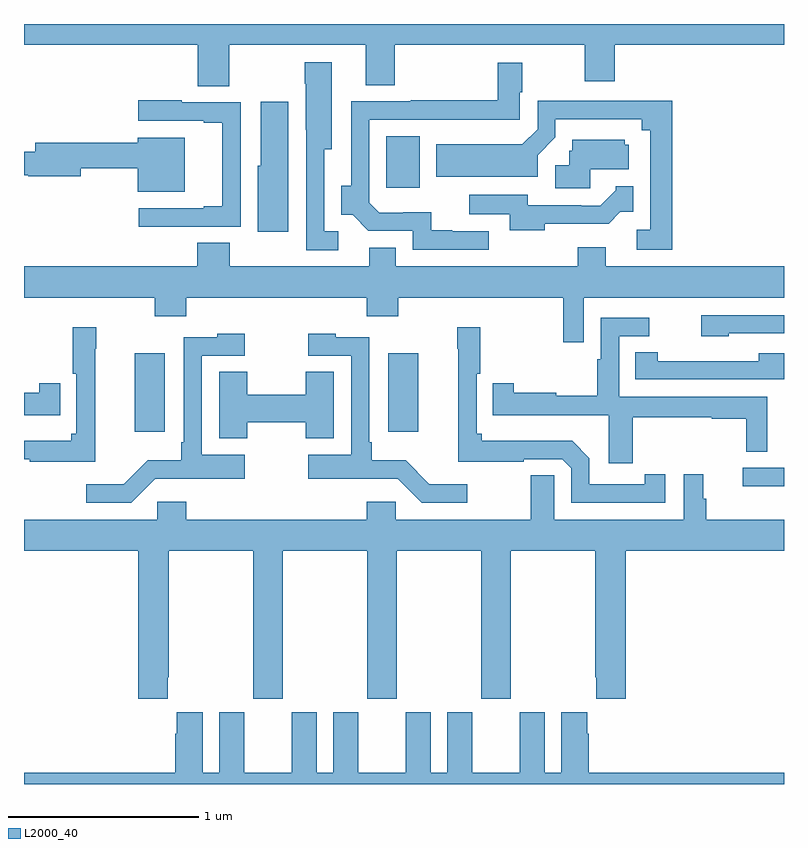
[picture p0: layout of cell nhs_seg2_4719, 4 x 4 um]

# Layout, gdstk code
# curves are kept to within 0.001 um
import gdstk
lib = gdstk.Library(unit=1e-6, precision=1e-09)
def R(c, l, rs):  # rectangles x0, y0, x1, y1
    for r in rs: c.add(gdstk.rectangle(r[:2], r[2:], *l))
def P(c, l, *ps):  # polygons
    for p in ps: c.add(gdstk.Polygon(p, *l))
L2000_40 = (2000, 40)

nhs_seg2_4719 = lib.new_cell('nhs_seg2_4719')
R(nhs_seg2_4719, L2000_40, [(372.783,589.367,373,589.464), (369.584,589.653,369.742,590.068), (370.916,589.653,371.074,590.068), (370.907,590.937,371.083,591.208)])
P(nhs_seg2_4719, L2000_40, [(370.08,591.692),(370.799,591.692),(370.799,591.478),(370.952,591.478),(370.952,591.692),(371.95,591.692),(371.95,591.498),(372.11,591.498),(372.11,591.692),(373,591.692),(373,591.8),(369,591.8),(369,591.692),(369.914,591.692),(369.914,591.472),(370.08,591.472)],
  [(370.654,590.709),(370.581,590.709),(370.581,591.14),(370.621,591.14),(370.621,591.598),(370.477,591.598),(370.477,591.485),(370.484,591.485),(370.484,591.244),(370.485,591.244),(370.485,590.609),(370.654,590.609)],
  [(371.446,590.709),(371.255,590.709),(371.255,590.714),(371.144,590.714),(371.144,590.808),(370.871,590.807),(370.818,590.859),(370.818,591.297),(371.61,591.296),(371.61,591.441),(371.623,591.441),(371.623,591.595),(371.494,591.595),(371.494,591.398),(371.035,591.398),(371.035,591.393),(370.722,591.393),(370.722,590.948),(370.67,590.948),(370.67,590.795),(370.729,590.795),(370.812,590.712),(371.046,590.712),(371.046,590.613),(371.446,590.613)],
  [(369.827,590.733),(370.14,590.733),(370.14,591.387),(369.83,591.387),(369.83,591.4),(369.6,591.4),(369.6,591.291),(369.947,591.291),(369.947,591.279),(370.043,591.279),(370.043,590.842),(369.947,590.842),(369.947,590.829),(369.603,590.829),(369.603,590.732),(369.827,590.732)],
  [(372.413,591.396),(371.703,591.396),(371.703,591.246),(371.623,591.166),(371.171,591.166),(371.171,590.996),(371.703,590.996),(371.703,591.11),(371.796,591.203),(371.796,591.3),(372.25,591.3),(372.25,591.242),(372.297,591.242),(372.297,590.718),(372.225,590.718),(372.225,590.613),(372.413,590.613)],
  [(370.39,591.391),(370.247,591.391),(370.247,591.054),(370.229,591.054),(370.229,590.706),(370.39,590.706)],
  [(369.847,591.202),(369.599,591.202),(369.599,591.176),(369.059,591.176),(369.059,591.127),(369,591.127),(369,591.005),(369.022,591.005),(369.022,590.998),(369.298,590.998),(369.298,591.04),(369.599,591.04),(369.599,590.918),(369.847,590.918)],
  [(371.98,591.035),(372.184,591.035),(372.184,591.165),(372.162,591.165),(372.162,591.19),(371.885,591.19),(371.885,591.132),(371.869,591.132),(371.869,591.057),(371.796,591.057),(371.796,590.936),(371.98,590.936)],
  [(371.74,590.75),(372.077,590.75),(372.138,590.811),(372.207,590.811),(372.207,590.947),(372.114,590.947),(372.114,590.925),(372.033,590.844),(371.933,590.844),(371.933,590.847),(371.652,590.847),(371.652,590.902),(371.343,590.902),(371.343,590.798),(371.556,590.798),(371.556,590.714),(371.74,590.714)],
  [(371.946,590.36),(373,590.36),(373,590.524),(372.061,590.524),(372.061,590.626),(371.914,590.626),(371.914,590.524),(370.957,590.524),(370.957,590.623),(370.817,590.623),(370.817,590.524),(370.083,590.524),(370.083,590.648),(369.911,590.648),(369.911,590.524),(369,590.524),(369,590.36),(369.689,590.36),(369.689,590.261),(369.854,590.261),(369.854,590.36),(370.805,590.36),(370.805,590.261),(370.97,590.261),(370.97,590.36),(371.838,590.36),(371.838,590.124),(371.946,590.124)],
  [(372.708,590.172),(373,590.172),(373,590.268),(372.564,590.268),(372.564,590.156),(372.708,590.156)],
  [(372.205,589.731),(372.619,589.731),(372.619,589.723),(372.8,589.723),(372.8,589.549),(372.912,589.549),(372.912,589.839),(372.132,589.839),(372.132,590.157),(372.292,590.157),(372.292,590.253),(372.036,590.253),(372.036,590.036),(372.016,590.036),(372.016,589.844),(371.802,589.844),(371.802,589.859),(371.578,589.859),(371.578,589.909),(371.467,589.909),(371.467,589.742),(372.077,589.742),(372.077,589.488),(372.205,589.488)],
  [(372.376,589.429),(372.266,589.429),(372.266,589.377),(371.976,589.377),(371.976,589.515),(371.885,589.606),(371.41,589.606),(371.41,589.644),(371.382,589.644),(371.382,589.958),(371.402,589.958),(371.402,590.203),(371.279,590.203),(371.279,590.09),(371.285,590.09),(371.285,589.497),(371.629,589.497),(371.629,589.509),(371.832,589.509),(371.88,589.461),(371.88,589.281),(372.376,589.281)],
  [(369.374,590.09),(369.38,590.09),(369.38,590.203),(369.256,590.203),(369.256,589.958),(369.276,589.958),(369.276,589.644),(369.248,589.644),(369.248,589.606),(369,589.606),(369,589.509),(369.029,589.509),(369.029,589.497),(369.374,589.497)],
  [(369.691,589.407),(370.162,589.406),(370.162,589.534),(369.936,589.534),(369.936,590.055),(370.162,590.055),(370.162,590.17),(370.017,590.17),(370.017,590.151),(369.84,590.151),(369.84,589.6),(369.828,589.6),(369.828,589.504),(369.65,589.504),(369.524,589.378),(369.327,589.378),(369.327,589.281),(369.565,589.281)],
  [(371.332,589.378),(371.134,589.378),(371.008,589.504),(370.831,589.504),(370.831,589.6),(370.818,589.6),(370.818,590.151),(370.641,590.151),(370.641,590.17),(370.497,590.17),(370.497,590.055),(370.722,590.055),(370.722,589.534),(370.497,589.534),(370.497,589.406),(370.967,589.407),(371.093,589.281),(371.332,589.281)],
  [(373,590.068),(372.866,590.068),(372.866,590.026),(372.336,590.026),(372.336,590.072),(372.217,590.072),(372.217,589.929),(373,589.929)],
  [(370.176,589.703),(370.483,589.703),(370.483,589.619),(370.63,589.619),(370.63,589.97),(370.483,589.97),(370.483,589.85),(370.176,589.85),(370.176,589.97),(370.028,589.97),(370.028,589.619),(370.176,589.619)],
  [(369.191,589.909),(369.08,589.909),(369.08,589.859),(369,589.859),(369,589.742),(369.191,589.742)],
  [(369.757,588.361),(369.762,588.361),(369.762,589.028),(370.207,589.028),(370.207,588.249),(370.362,588.249),(370.362,589.028),(370.807,589.028),(370.807,588.249),(370.962,588.249),(370.962,589.028),(371.407,589.028),(371.407,588.249),(371.562,588.249),(371.562,589.028),(372.007,589.028),(372.007,588.361),(372.011,588.361),(372.011,588.249),(372.167,588.249),(372.167,589.028),(373,589.028),(373,589.192),(372.592,589.192),(372.592,589.302),(372.574,589.302),(372.574,589.429),(372.473,589.429),(372.473,589.192),(371.79,589.192),(371.79,589.424),(371.668,589.424),(371.668,589.192),(370.956,589.192),(370.956,589.285),(370.805,589.285),(370.805,589.192),(369.854,589.192),(369.854,589.285),(369.702,589.285),(369.702,589.192),(369,589.192),(369,589.028),(369.602,589.028),(369.602,588.249),(369.757,588.249)],
  [(373,587.86),(371.972,587.86),(371.972,588.065),(371.965,588.065),(371.965,588.178),(371.828,588.178),(371.828,587.86),(371.74,587.86),(371.74,588.178),(371.609,588.178),(371.609,587.86),(371.359,587.86),(371.359,588.178),(371.228,588.178),(371.228,587.86),(371.14,587.86),(371.14,588.178),(371.009,588.178),(371.009,587.86),(370.759,587.86),(370.759,588.178),(370.628,588.178),(370.628,587.86),(370.54,587.86),(370.54,588.178),(370.409,588.178),(370.409,587.86),(370.159,587.86),(370.159,588.178),(370.028,588.178),(370.028,587.86),(369.94,587.86),(369.94,588.178),(369.803,588.178),(369.803,588.065),(369.797,588.065),(369.797,587.86),(369,587.86),(369,587.8),(373,587.8)])

lib.write_gds('nhs_seg2_4719.gds')
